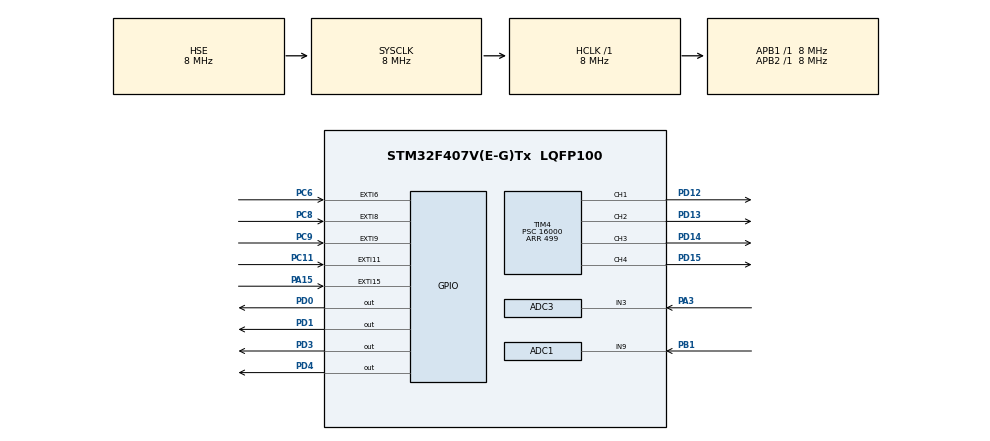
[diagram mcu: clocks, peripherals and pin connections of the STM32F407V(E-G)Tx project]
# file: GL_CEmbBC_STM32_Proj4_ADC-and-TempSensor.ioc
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ADC1.Channel-3\#ChannelRegularConversion=ADC_CHANNEL_9
ADC1.Channel-4\#ChannelRegularConversion=ADC_CHANNEL_TEMPSENSOR
ADC1.ClockPrescaler=ADC_CLOCK_SYNC_PCLK_DIV8
ADC1.ContinuousConvMode=ENABLE
ADC1.NbrOfConversion=2
ADC1.NbrOfConversionFlag=1
ADC1.Rank-3\#ChannelRegularConversion=1
ADC1.Rank-4\#ChannelRegularConversion=2
ADC1.SamplingTime-3\#ChannelRegularConversion=ADC_SAMPLETIME_480CYCLES
ADC1.SamplingTime-4\#ChannelRegularConversion=ADC_SAMPLETIME_112CYCLES
ADC1.ScanConvMode=ENABLE
ADC1.master=1
ADC3.Channel-1\#ChannelRegularConversion=ADC_CHANNEL_3
ADC3.ClockPrescaler=ADC_CLOCK_SYNC_PCLK_DIV8
ADC3.NbrOfConversionFlag=1
ADC3.Rank-1\#ChannelRegularConversion=1
ADC3.SamplingTime-1\#ChannelRegularConversion=ADC_SAMPLETIME_480CYCLES
ADC3.ScanConvMode=DISABLE
Mcu.Family=STM32F4
Mcu.Name=STM32F407V(E-G)Tx
Mcu.Package=LQFP100
NVIC.ADC_IRQn=true\:0\:0\:false\:false\:true\:true\:true
NVIC.EXTI15_10_IRQn=true\:0\:0\:false\:false\:true\:true\:true
NVIC.EXTI9_5_IRQn=true\:0\:0\:false\:false\:true\:true\:true
NVIC.PriorityGroup=NVIC_PRIORITYGROUP_4
NVIC.TIM4_IRQn=true\:0\:0\:false\:false\:true\:true\:true
PA15.GPIO_ModeDefaultEXTI=GPIO_MODE_IT_FALLING
PA15.Signal=GPXTI15
PA3.Signal=ADCx_IN3
PB1.Signal=ADCx_IN9
PC11.GPIO_ModeDefaultEXTI=GPIO_MODE_IT_FALLING
PC11.Signal=GPXTI11
PC6.GPIO_ModeDefaultEXTI=GPIO_MODE_IT_FALLING
PC6.Signal=GPXTI6
PC8.GPIO_ModeDefaultEXTI=GPIO_MODE_IT_FALLING
PC8.Signal=GPXTI8
PC9.GPIO_ModeDefaultEXTI=GPIO_MODE_IT_FALLING
PC9.Signal=GPXTI9
PD0.Signal=GPIO_Output
PD1.Signal=GPIO_Output
PD12.Signal=S_TIM4_CH1
PD13.Signal=S_TIM4_CH2
PD14.Signal=S_TIM4_CH3
PD15.Signal=S_TIM4_CH4
PD3.Signal=GPIO_Output
PD4.Signal=GPIO_Output
PH0-OSC_IN.Mode=HSE-External-Oscillator
PH0-OSC_IN.Signal=RCC_OSC_IN
PH1-OSC_OUT.Mode=HSE-External-Oscillator
PH1-OSC_OUT.Signal=RCC_OSC_OUT
ProjectManager.HeapSize=0x200
ProjectManager.StackSize=0x400
ProjectManager.TargetToolchain=STM32CubeIDE
RCC.48MHZClocksFreq_Value=32000000
RCC.AHBFreq_Value=8000000
RCC.APB1Freq_Value=8000000
RCC.APB1TimFreq_Value=8000000
RCC.APB2Freq_Value=8000000
RCC.APB2TimFreq_Value=8000000
RCC.CortexFreq_Value=8000000
RCC.EnbaleCSS=true
RCC.HCLKFreq_Value=8000000
RCC.HSE_VALUE=8000000
RCC.HSI_VALUE=16000000
RCC.LSE_VALUE=32768
RCC.PLLM=4
RCC.PLLN=64
RCC.PLLP=RCC_PLLP_DIV4
RCC.PLLSourceVirtual=RCC_PLLSOURCE_HSE
RCC.SYSCLKFreq_VALUE=8000000
RCC.SYSCLKSource=RCC_SYSCLKSOURCE_HSE
RCC.VCOOutputFreq_Value=128000000
SH.ADCx_IN3.0=ADC3_IN3,IN3
SH.ADCx_IN9.0=ADC1_IN9,IN9
SH.S_TIM4_CH1.0=TIM4_CH1,PWM Generation1 CH1
SH.S_TIM4_CH2.0=TIM4_CH2,PWM Generation2 CH2
SH.S_TIM4_CH3.0=TIM4_CH3,PWM Generation3 CH3
SH.S_TIM4_CH4.0=TIM4_CH4,PWM Generation4 CH4
TIM4.AutoReloadPreload=TIM_AUTORELOAD_PRELOAD_ENABLE
TIM4.Channel-PWM\ Generation1\ CH1=TIM_CHANNEL_1
TIM4.Channel-PWM\ Generation2\ CH2=TIM_CHANNEL_2
TIM4.Channel-PWM\ Generation3\ CH3=TIM_CHANNEL_3
TIM4.Channel-PWM\ Generation4\ CH4=TIM_CHANNEL_4
TIM4.Period=499
TIM4.Prescaler=16000
TIM4.Pulse-PWM\ Generation1\ CH1=100
TIM4.Pulse-PWM\ Generation2\ CH2=100
TIM4.Pulse-PWM\ Generation3\ CH3=100
TIM4.Pulse-PWM\ Generation4\ CH4=100
VP_ADC1_TempSens_Input.Mode=IN-TempSens
VP_TIM4_VS_ClockSourceINT.Mode=Internal
board=custom

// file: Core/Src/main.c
/* USER CODE BEGIN Header */
/**
  ******************************************************************************
  * @file           : main.c
  * @brief          : Main program body
  ******************************************************************************
  * @attention
  *
  * <h2><center>&copy; Copyright (c) 2021 STMicroelectronics.
  * All rights reserved.</center></h2>
  *
  * This software component is licensed by ST under BSD 3-Clause license,
  * the "License"; You may not use this file except in compliance with the
  * License. You may obtain a copy of the License at:
  *                        opensource.org/licenses/BSD-3-Clause
  *
  ******************************************************************************
  */

// todo

// implement internal temperature sensor read
// implement external temperature sensor read

// todo end.

/* USER CODE END Header */
#include "main.h"

/* USER CODE BEGIN Includes */

#include <stdbool.h>

/* USER CODE END Includes */

ADC_HandleTypeDef hadc1;
ADC_HandleTypeDef hadc3;

TIM_HandleTypeDef htim4;

/* USER CODE BEGIN PV */

static const uint8_t led_states_num = 5;

const uint8_t get_led_states_num(void)
{
	return led_states_num;
}

uint16_t adc1_ar[2];

/* USER CODE END PV */

void SystemClock_Config(void);
static void MX_GPIO_Init(void);
static void MX_TIM4_Init(void);
static void MX_ADC3_Init(void);
static void MX_ADC1_Init(void);

/* USER CODE BEGIN 0 */

uint32_t min(uint32_t val1, uint32_t val2)
{
	return (val1 < val2) ? val1 : val2;
}

uint32_t max(uint32_t val1, uint32_t val2)
{
	return (val1 > val2) ? val1 : val2;
}

uint16_t saturate_uint16(int32_t val, uint16_t min_lim, uint16_t max_lim)
{
	bool below_min = val < (int32_t)min_lim;
	bool above_max = val > (int32_t)max_lim;
	return (below_min * min_lim + (!below_min && !above_max) * val + above_max * max_lim);
}

double normalize(uint16_t src, uint16_t src_range_min, uint16_t src_range_size)
{
	if (src_range_size)
	{
		return 0.0 + (double)(src - src_range_min) / (double)src_range_size;
	}
	else
	{
		return 1;
	}
}

uint16_t map(int16_t src, uint16_t src_range_min, uint16_t src_range_size, uint16_t res_range_min, uint16_t res_range_size)
{
	double normalized = normalize(src, src_range_min, src_range_size);	// normalized to 0-1 range (src_min = 0.0, src_max = 1.0, >src_max = >1.0)
	uint32_t mapped = (uint32_t) ((double)res_range_min + normalized * (double)res_range_size);
	return mapped;
}

void ADC1_Select_CH9()	// external temp. sensor channel
{
	ADC_ChannelConfTypeDef sConfig = {0};

	/** Configure for the selected ADC regular channel its corresponding rank in the sequencer and its sample time.
	*/
	sConfig.Channel = ADC_CHANNEL_9;
	sConfig.Rank = 1;
	sConfig.SamplingTime = ADC_SAMPLETIME_480CYCLES;
	if (HAL_ADC_ConfigChannel(&hadc1, &sConfig) != HAL_OK)
	{
		Error_Handler();
	}
}

void ADC1_Select_CHTemp()	// internal temp. sensor channel
{
	ADC_ChannelConfTypeDef sConfig = {0};

	/** Configure for the selected ADC regular channel its corresponding rank in the sequencer and its sample time.
	*/
	sConfig.Channel = ADC_CHANNEL_TEMPSENSOR;
	sConfig.Rank = 2;
	sConfig.SamplingTime = ADC_SAMPLETIME_112CYCLES;
	if (HAL_ADC_ConfigChannel(&hadc1, &sConfig) != HAL_OK)
	{
		Error_Handler();
	}
}

void HAL_ADC_ConvCpltCallback(ADC_HandleTypeDef* hadc)
{
	uint16_t adc_value_min = 0;
	uint16_t adc_value_max = 4095;
	uint32_t adc3_value = 0;

	if(hadc->Instance == ADC3)
	{
		// blue led - potentiometer input
		adc3_value = HAL_ADC_GetValue(&hadc3);
		TIM4->CCR4 = (uint32_t) map(adc3_value, adc_value_min, adc_value_max, 0, 10);
	}
}

/* USER CODE END 0 */

int main(void)
{

  /* MCU Configuration--------------------------------------------------------*/

  /* Reset of all peripherals, Initializes the Flash interface and the Systick. */
  HAL_Init();

  /* Configure the system clock */
  SystemClock_Config();

  /* Initialize all configured peripherals */
  MX_GPIO_Init();
  MX_TIM4_Init();
  MX_ADC3_Init();
  MX_ADC1_Init();
  /* USER CODE BEGIN 2 */

	// note: HARDWARE SETUP

    // pin_D12 = LED green	- TIM_CH_1
    // pin_D13 = LED orange	- TIM_CH_2
    // pin_D14 = LED red	- TIM_CH_3
    // pin_D15 = LED blue	- TIM_CH_4

    // pin_A15 	= button SWT2 (center)	- INT_SWT2
    // pin_C6	= button SWT4 (up)		- INT_SWT4
    // pin_C8	= button SWT5 (down)	- INT_SWT5
    // pin_C9	= button SWT3 (left)	- INT_SWT3
    // pin_C11 	= button SWT1 (right)	- INT_SWT1

  	// pin_GND 	= potentiometer.pin_left
  	// pin_3V	= potentiometer.pin_right
  	// pin_A3	= potentiometer.pin_middle

  	// note: SOFTWARE SETUP

  	// files with user-code:
  	// - $ProjectDir/Core/Src/main.h
  	// - $ProjectDir/Core/Src/main.c
  	// - $ProjectDir/Core/Src/stm32f4xx_it.c

  	// xxx !!!
  	// * When re-generated code:
    // - in $ProjectDir/Core/Src/main.c -> MX_ADC1_Init() -> hadc1.Init.NbrOfConversion = 2;
  	//		=> 	change value to 1 (manually after regenerate !);

  	// note: adc with interrupts config
  	// * When setting up adc with interrupt mode, set
  	// 		ADCx -> Parameter settings -> Sampling Time = 480 cyles, otherwise
  	//		interrupts may not work

  /* USER CODE END 2 */

  /* Infinite loop */
  /* USER CODE BEGIN WHILE */

  HAL_TIM_Base_Start(&htim4);
  HAL_TIM_PWM_Start(&htim4, TIM_CHANNEL_1);		// enable led_green
  HAL_TIM_PWM_Start(&htim4, TIM_CHANNEL_2);		// enable led_orange
  HAL_TIM_PWM_Start(&htim4, TIM_CHANNEL_4);		// enable led_blue
  //HAL_ADC_Start_IT(&hadc1);
  //HAL_ADC_Start_IT(&hadc2);
  HAL_ADC_Start_IT(&hadc3);

  // caculate and set initial CCR value (initial duty cycle)
  uint32_t sys_clk_hz = HAL_RCC_GetSysClockFreq();
  const uint16_t CCR_min = 1;
  uint16_t CCR_max = (uint16_t) (sys_clk_hz / TIM4->PSC);
  uint32_t target_CCR = (uint32_t) map(0, 0, 100, CCR_min, CCR_max);
  TIM4->CCR1 = target_CCR;
  TIM4->CCR2 = target_CCR;
  TIM4->CCR4 = target_CCR;

  TIM4->ARR = 7;	// result pwm frequency = 55.56 Hz

  // ADC3_CH3 variables - potentiometer [single-channel polling]
  uint16_t adc_value_min = 0;
  uint16_t adc_value_max = 4095;
  uint32_t adc3_value = 0;
  volatile HAL_StatusTypeDef adc3_poll_result;

  // ADC1_CH9 - external temp. sensor variables
  const uint16_t ext_temp_sensor_adc1_value_min = 1800;	// (approx.) value of room temperature
  const uint16_t ext_temp_sensor_adc1_value_max = 4095;	// max value

  // ADC1_CHTemp - internal temp. sensor variables
  const uint16_t int_temp_sensor_adc1_value_min = 1800;	// (approx.) value of room temperature
  const uint16_t int_temp_sensor_adc1_value_max = 4095;	// max value

  const uint16_t ext_temp_sensor_adc1_value_min_inverted = 1650;
  const uint16_t int_temp_sensor_adc1_value_min_inverted = 1650;

	while (1)
	{

		// ADC3_CH3 - potentiometer [single-channel polling]
		/*
		adc3_poll_result = HAL_ADC_PollForConversion(&hadc3, 1);
		if (adc3_poll_result == HAL_OK)
		{
			adc3_value = HAL_ADC_GetValue(&hadc3);
		}
		else
		{
			HAL_ADC_Start(&hadc3);
		}
		TIM4->CCR4 = (uint32_t) map(adc3_value, adc_value_min, adc_value_max, 0, 10);
		*/

		// ADC1_CH9 - external temp. sensor [multi-channel polling]
		ADC1_Select_CH9();
		HAL_ADC_Start(&hadc1);
		HAL_ADC_PollForConversion(&hadc1, 1000);
		adc1_ar[0] = HAL_ADC_GetValue(&hadc1);
		HAL_ADC_Stop(&hadc1);
		// green led -ext. temp. sensor
		TIM4->CCR1 = (uint32_t) map
		(
			adc_value_max - adc1_ar[0],		// inverting for more brightness when temp. rises
			ext_temp_sensor_adc1_value_min_inverted,
			adc_value_max,
			0,
			10
		);

		// ADC1_CHTemp - internal temp. sensor	[multi-channel polling]
		ADC1_Select_CHTemp();
		HAL_ADC_Start(&hadc1);
		HAL_ADC_PollForConversion(&hadc1, 1000);
		adc1_ar[1] = HAL_ADC_GetValue(&hadc1);
		HAL_ADC_Stop(&hadc1);
		// orange led - int. temp. sensor
		TIM4->CCR2 = (uint32_t) map
		(
			adc_value_max - adc1_ar[1],		// inverting for more brightness when temp. rises
			int_temp_sensor_adc1_value_min_inverted,
			adc_value_max,
			0,
			10
		);

		HAL_Delay(10);

		// adc values test
		if (adc3_value < 1000)
		{
			HAL_GPIO_TogglePin(GPIOD, GPIO_PIN_0);
		}
		else if (adc3_value < 2000)
		{
			HAL_GPIO_TogglePin(GPIOD, GPIO_PIN_1);
		}
		else if (adc3_value < 3000)
		{
			HAL_GPIO_TogglePin(GPIOD, GPIO_PIN_3);
		}
		else
		{
			HAL_GPIO_TogglePin(GPIOD, GPIO_PIN_4);
		}

    /* USER CODE END WHILE */

	}
}

void SystemClock_Config(void)
{
  RCC_OscInitTypeDef RCC_OscInitStruct = {0};
  RCC_ClkInitTypeDef RCC_ClkInitStruct = {0};

  /** Configure the main internal regulator output voltage
  */
  __HAL_RCC_PWR_CLK_ENABLE();
  __HAL_PWR_VOLTAGESCALING_CONFIG(PWR_REGULATOR_VOLTAGE_SCALE1);
  /** Initializes the RCC Oscillators according to the specified parameters
  * in the RCC_OscInitTypeDef structure.
  */
  RCC_OscInitStruct.OscillatorType = RCC_OSCILLATORTYPE_HSE;
  RCC_OscInitStruct.HSEState = RCC_HSE_ON;
  RCC_OscInitStruct.PLL.PLLState = RCC_PLL_NONE;
  if (HAL_RCC_OscConfig(&RCC_OscInitStruct) != HAL_OK)
  {
    Error_Handler();
  }
  /** Initializes the CPU, AHB and APB buses clocks
  */
  RCC_ClkInitStruct.ClockType = RCC_CLOCKTYPE_HCLK|RCC_CLOCKTYPE_SYSCLK
                              |RCC_CLOCKTYPE_PCLK1|RCC_CLOCKTYPE_PCLK2;
  RCC_ClkInitStruct.SYSCLKSource = RCC_SYSCLKSOURCE_HSE;
  RCC_ClkInitStruct.AHBCLKDivider = RCC_SYSCLK_DIV1;
  RCC_ClkInitStruct.APB1CLKDivider = RCC_HCLK_DIV1;
  RCC_ClkInitStruct.APB2CLKDivider = RCC_HCLK_DIV1;

  if (HAL_RCC_ClockConfig(&RCC_ClkInitStruct, FLASH_LATENCY_0) != HAL_OK)
  {
    Error_Handler();
  }
  /** Enables the Clock Security System
  */
  HAL_RCC_EnableCSS();
}

static void MX_ADC1_Init(void)
{

  ADC_ChannelConfTypeDef sConfig = {0};

  /** Configure the global features of the ADC (Clock, Resolution, Data Alignment and number of conversion)
  */
  hadc1.Instance = ADC1;
  hadc1.Init.ClockPrescaler = ADC_CLOCK_SYNC_PCLK_DIV8;
  hadc1.Init.Resolution = ADC_RESOLUTION_12B;
  hadc1.Init.ScanConvMode = ENABLE;
  hadc1.Init.ContinuousConvMode = ENABLE;
  hadc1.Init.DiscontinuousConvMode = DISABLE;
  hadc1.Init.ExternalTrigConvEdge = ADC_EXTERNALTRIGCONVEDGE_NONE;
  hadc1.Init.ExternalTrigConv = ADC_SOFTWARE_START;
  hadc1.Init.DataAlign = ADC_DATAALIGN_RIGHT;
  hadc1.Init.NbrOfConversion = 1;
  hadc1.Init.DMAContinuousRequests = DISABLE;
  hadc1.Init.EOCSelection = ADC_EOC_SINGLE_CONV;
  if (HAL_ADC_Init(&hadc1) != HAL_OK)
  {
    Error_Handler();
  }
  /** Configure for the selected ADC regular channel its corresponding rank in the sequencer and its sample time.
  */
  sConfig.Channel = ADC_CHANNEL_9;
  sConfig.Rank = 1;
  sConfig.SamplingTime = ADC_SAMPLETIME_480CYCLES;
  if (HAL_ADC_ConfigChannel(&hadc1, &sConfig) != HAL_OK)
  {
    Error_Handler();
  }
  /** Configure for the selected ADC regular channel its corresponding rank in the sequencer and its sample time.
  */
  sConfig.Channel = ADC_CHANNEL_TEMPSENSOR;
  sConfig.Rank = 2;
  sConfig.SamplingTime = ADC_SAMPLETIME_112CYCLES;
  if (HAL_ADC_ConfigChannel(&hadc1, &sConfig) != HAL_OK)
  {
    Error_Handler();
  }

}

static void MX_ADC3_Init(void)
{

  ADC_ChannelConfTypeDef sConfig = {0};

  /** Configure the global features of the ADC (Clock, Resolution, Data Alignment and number of conversion)
  */
  hadc3.Instance = ADC3;
  hadc3.Init.ClockPrescaler = ADC_CLOCK_SYNC_PCLK_DIV8;
  hadc3.Init.Resolution = ADC_RESOLUTION_12B;
  hadc3.Init.ScanConvMode = DISABLE;
  hadc3.Init.ContinuousConvMode = ENABLE;
  hadc3.Init.DiscontinuousConvMode = DISABLE;
  hadc3.Init.ExternalTrigConvEdge = ADC_EXTERNALTRIGCONVEDGE_NONE;
  hadc3.Init.ExternalTrigConv = ADC_SOFTWARE_START;
  hadc3.Init.DataAlign = ADC_DATAALIGN_RIGHT;
  hadc3.Init.NbrOfConversion = 1;
  hadc3.Init.DMAContinuousRequests = DISABLE;
  hadc3.Init.EOCSelection = ADC_EOC_SINGLE_CONV;
  if (HAL_ADC_Init(&hadc3) != HAL_OK)
  {
    Error_Handler();
  }
  /** Configure for the selected ADC regular channel its corresponding rank in the sequencer and its sample time.
  */
  sConfig.Channel = ADC_CHANNEL_3;
  sConfig.Rank = 1;
  sConfig.SamplingTime = ADC_SAMPLETIME_480CYCLES;
  if (HAL_ADC_ConfigChannel(&hadc3, &sConfig) != HAL_OK)
  {
    Error_Handler();
  }

}

static void MX_TIM4_Init(void)
{

  TIM_ClockConfigTypeDef sClockSourceConfig = {0};
  TIM_MasterConfigTypeDef sMasterConfig = {0};
  TIM_OC_InitTypeDef sConfigOC = {0};

  htim4.Instance = TIM4;
  htim4.Init.Prescaler = 16000;
  htim4.Init.CounterMode = TIM_COUNTERMODE_UP;
  htim4.Init.Period = 499;
  htim4.Init.ClockDivision = TIM_CLOCKDIVISION_DIV1;
  htim4.Init.AutoReloadPreload = TIM_AUTORELOAD_PRELOAD_ENABLE;
  if (HAL_TIM_Base_Init(&htim4) != HAL_OK)
  {
    Error_Handler();
  }
  sClockSourceConfig.ClockSource = TIM_CLOCKSOURCE_INTERNAL;
  if (HAL_TIM_ConfigClockSource(&htim4, &sClockSourceConfig) != HAL_OK)
  {
    Error_Handler();
  }
  if (HAL_TIM_PWM_Init(&htim4) != HAL_OK)
  {
    Error_Handler();
  }
  sMasterConfig.MasterOutputTrigger = TIM_TRGO_RESET;
  sMasterConfig.MasterSlaveMode = TIM_MASTERSLAVEMODE_DISABLE;
  if (HAL_TIMEx_MasterConfigSynchronization(&htim4, &sMasterConfig) != HAL_OK)
  {
    Error_Handler();
  }
  sConfigOC.OCMode = TIM_OCMODE_PWM1;
  sConfigOC.Pulse = 100;
  sConfigOC.OCPolarity = TIM_OCPOLARITY_HIGH;
  sConfigOC.OCFastMode = TIM_OCFAST_DISABLE;
  if (HAL_TIM_PWM_ConfigChannel(&htim4, &sConfigOC, TIM_CHANNEL_1) != HAL_OK)
  {
    Error_Handler();
  }
  if (HAL_TIM_PWM_ConfigChannel(&htim4, &sConfigOC, TIM_CHANNEL_2) != HAL_OK)
  {
    Error_Handler();
  }
  if (HAL_TIM_PWM_ConfigChannel(&htim4, &sConfigOC, TIM_CHANNEL_3) != HAL_OK)
  {
    Error_Handler();
  }
  if (HAL_TIM_PWM_ConfigChannel(&htim4, &sConfigOC, TIM_CHANNEL_4) != HAL_OK)
  {
    Error_Handler();
  }
  HAL_TIM_MspPostInit(&htim4);

}

static void MX_GPIO_Init(void)
{
  GPIO_InitTypeDef GPIO_InitStruct = {0};

  /* GPIO Ports Clock Enable */
  __HAL_RCC_GPIOH_CLK_ENABLE();
  __HAL_RCC_GPIOA_CLK_ENABLE();
  __HAL_RCC_GPIOB_CLK_ENABLE();
  __HAL_RCC_GPIOD_CLK_ENABLE();
  __HAL_RCC_GPIOC_CLK_ENABLE();

  /*Configure GPIO pin Output Level */
  HAL_GPIO_WritePin(GPIOD, GPIO_PIN_0|GPIO_PIN_1|GPIO_PIN_3|GPIO_PIN_4, GPIO_PIN_RESET);

  /*Configure GPIO pins : PC6 PC8 PC9 PC11 */
  GPIO_InitStruct.Pin = GPIO_PIN_6|GPIO_PIN_8|GPIO_PIN_9|GPIO_PIN_11;
  GPIO_InitStruct.Mode = GPIO_MODE_IT_FALLING;
  GPIO_InitStruct.Pull = GPIO_NOPULL;
  HAL_GPIO_Init(GPIOC, &GPIO_InitStruct);

  /*Configure GPIO pin : PA15 */
  GPIO_InitStruct.Pin = GPIO_PIN_15;
  GPIO_InitStruct.Mode = GPIO_MODE_IT_FALLING;
  GPIO_InitStruct.Pull = GPIO_NOPULL;
  HAL_GPIO_Init(GPIOA, &GPIO_InitStruct);

  /*Configure GPIO pins : PD0 PD1 PD3 PD4 */
  GPIO_InitStruct.Pin = GPIO_PIN_0|GPIO_PIN_1|GPIO_PIN_3|GPIO_PIN_4;
  GPIO_InitStruct.Mode = GPIO_MODE_OUTPUT_PP;
  GPIO_InitStruct.Pull = GPIO_NOPULL;
  GPIO_InitStruct.Speed = GPIO_SPEED_FREQ_LOW;
  HAL_GPIO_Init(GPIOD, &GPIO_InitStruct);

  /* EXTI interrupt init*/
  HAL_NVIC_SetPriority(EXTI9_5_IRQn, 0, 0);
  HAL_NVIC_EnableIRQ(EXTI9_5_IRQn);

  HAL_NVIC_SetPriority(EXTI15_10_IRQn, 0, 0);
  HAL_NVIC_EnableIRQ(EXTI15_10_IRQn);

}

void Error_Handler(void)
{
  __disable_irq();
  while (1)
  {
  }
}

/************************ (C) COPYRIGHT STMicroelectronics *****END OF FILE****/
